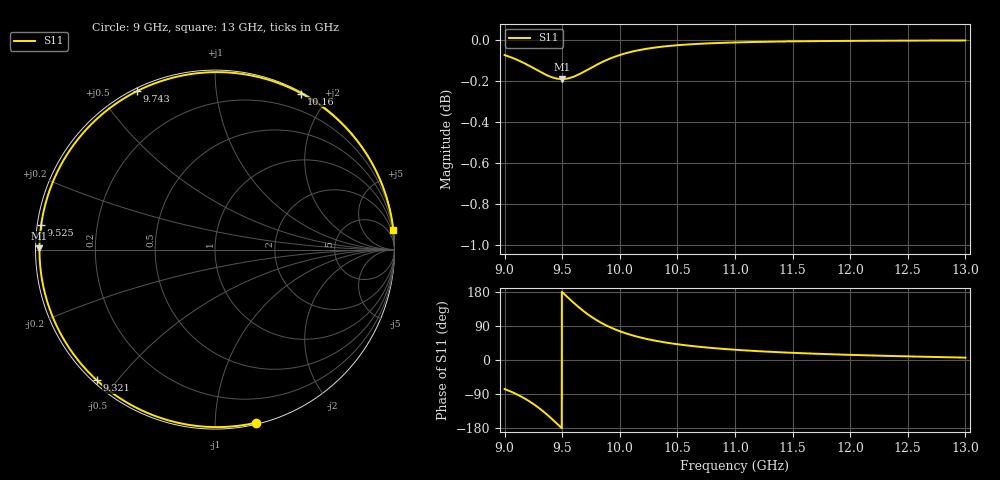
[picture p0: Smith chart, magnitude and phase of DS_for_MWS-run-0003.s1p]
! TOUCHSTONE file generated by CST DESIGN STUDIO
! Date and time: Tue Feb  4 15:48:27 2025
! Project name: C:\Work\MatlabApps\UnitCellOptimizationMatlab\CST\unitcell.cst
! Tree item: Tasks\Sweep1\SPara1\S-Parameters
! Header version: 2024
! Port assignment regex: !\s*Touchstone port\s*([0-9]+)\s*=\s*(CST MWS port|CST DES external port|CST DES block port)\s*(.+)\s* \(\"(.*)\"\)(\s*mode\s*([0-9]+))?.*
! Touchstone port assignment:
! Touchstone port 1 = CST DES external port 1 ("")
# GHz S MA R 50
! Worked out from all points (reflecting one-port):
!   4001 points, 9 GHz to 13 GHz, reference 50 ohm
!   lowest |S11| = -0.2 dB at 9.498 GHz (marker M1), VSWR 90.39, Z = 0.553 + j0.158 ohm
!   phase of S11 starts at -77 deg and turns -277 deg over the sweep
!   S11 on the Smith chart (normalised r, x): 9 GHz: 0.01, -1.26; 9.321 GHz: 0.01, -0.44; 9.525 GHz: 0.01, +0.07; 9.743 GHz: 0.01, +0.62; 10.16 GHz: 0.01, +1.70; 13 GHz: 0, +18
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9  0.9913 -76.7
9.083  0.9894 -87.2
9.184  0.9864 -103.3
9.255  0.984 -117.2
9.321  0.9817 -132.2
9.368  0.9802 -144.0
9.418  0.979 -157.5
9.459  0.9783 -169.1
9.498  0.9781 179.6
9.5  0.9781 179.1
9.525  0.9782 171.8
9.579  0.979 156.6
9.639  0.9805 140.5
9.69  0.9822 128.0
9.743  0.984 116.2
9.796  0.9858 105.7
9.854  0.9877 95.7
9.926  0.9897 85.0
10  0.9914 75.9
10.158  0.994 61.0
10.313  0.9956 50.6
10.5  0.9968 41.6
10.722  0.9977 33.9
11  0.9984 27.0
11.5  0.999 18.9
12  0.9993 13.5
12.5  0.9994 9.5
13  0.9995 6.3
